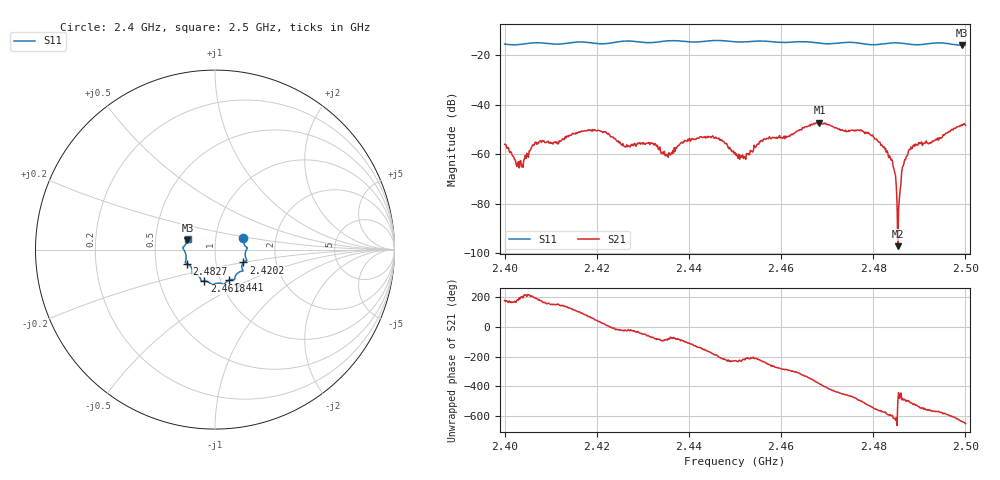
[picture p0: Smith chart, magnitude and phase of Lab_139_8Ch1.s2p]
# Hz S RI R 50
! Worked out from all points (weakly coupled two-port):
!   601 points, 2.4 GHz to 2.5 GHz, reference 50 ohm
!   highest |S21| = -47.19 dB at 2.4683 GHz (marker M1); lowest = -97.1 dB at 2.4853 GHz (marker M2)
!   lowest |S11| = -15.8 dB at 2.4993 GHz (marker M3), VSWR 1.39, Z = 36.5 + j3.85 ohm
!   |S11| at or under -10 dB: start of sweep to end of sweep
!   S12 and S22 are empty: the file has one direction only
!   S11 on the Smith chart (normalised r, x): 2.4 GHz: 1.36, +0.18; 2.4202 GHz: 1.36, -0.20; 2.441 GHz: 1.10, -0.39; 2.4618 GHz: 0.84, -0.30; 2.4827 GHz: 0.72, -0.12; 2.5 GHz: 0.73, +0.09
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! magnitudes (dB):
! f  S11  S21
! 2.4 GHz  -15.4  -55.9
! 2.4035 GHz  -15.5  -62.5
! 2.4065 GHz  -14.9  -55.7
! 2.4167 GHz  -14.5  -50.5
! 2.4202 GHz  -15.2  -50.3
! 2.4333 GHz  -14.5  -57.7
! 2.4355 GHz  -14.1  -61.1
! 2.441 GHz  -14.6  -53.9
! 2.4463 GHz  -13.9  -53.6
! 2.45 GHz  -14.4  -59.2
! 2.4618 GHz  -14.6  -52.8
! 2.4667 GHz  -14.6  -47.7
! 2.4683 GHz  -15.0  -47.2
! 2.4788 GHz  -15.5  -51.0
! 2.4827 GHz  -15.2  -57.5
! 2.4833 GHz  -15.0  -61.3
! 2.4843 GHz  -14.9  -64.9
! 2.4853 GHz  -14.9  -97.1
! 2.4867 GHz  -15.1  -63.5
! 2.4882 GHz  -15.5  -56.9
! 2.4993 GHz  -15.8  -48.3
! 2.5 GHz  -15.7  -48.2
